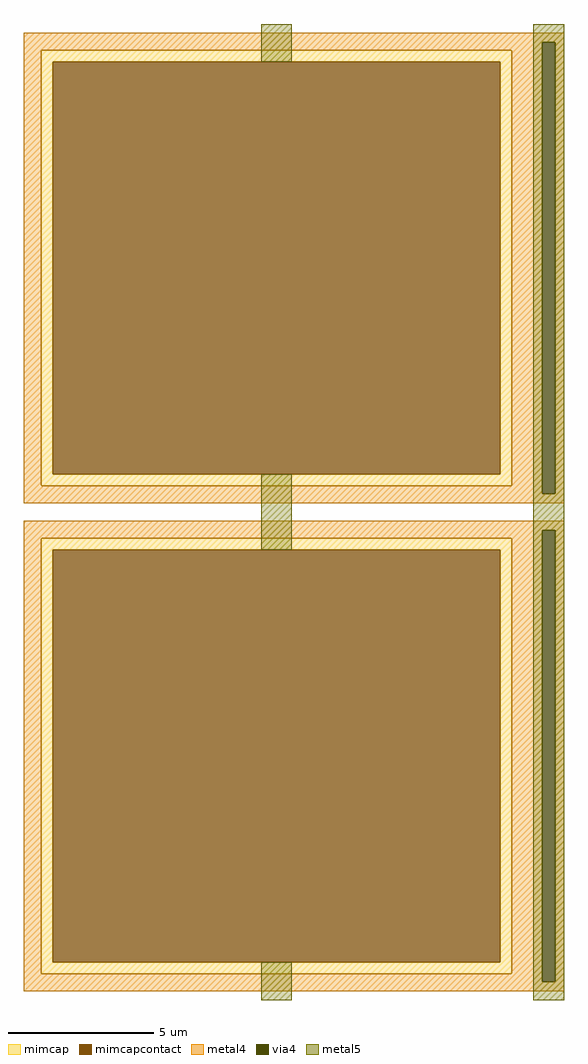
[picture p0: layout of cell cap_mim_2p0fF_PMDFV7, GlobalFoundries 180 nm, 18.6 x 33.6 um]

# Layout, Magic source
magic
tech gf180mcuC
magscale 1 10
<< mimcap >>
rect -1740 3100 1500 3180
rect -1740 260 -1660 3100
rect 1420 260 1500 3100
rect -1740 180 1500 260
rect -1740 -260 1500 -180
rect -1740 -3100 -1660 -260
rect 1420 -3100 1500 -260
rect -1740 -3180 1500 -3100
<< mimcapcontact >>
rect -1660 260 1420 3100
rect -1660 -3100 1420 -260
<< metal4 >>
rect -1860 3233 1860 3300
rect -1860 3180 1710 3233
rect -1860 180 -1740 3180
rect 1500 180 1710 3180
rect -1860 127 1710 180
rect 1798 127 1860 3233
rect -1860 60 1860 127
rect -1860 -127 1860 -60
rect -1860 -180 1710 -127
rect -1860 -3180 -1740 -180
rect 1500 -3180 1710 -180
rect -1860 -3233 1710 -3180
rect 1798 -3233 1860 -127
rect -1860 -3300 1860 -3233
<< via4 >>
rect 1710 127 1798 3233
rect 1710 -3233 1798 -127
<< metal5 >>
rect -226 3100 -14 3360
rect 1648 3233 1860 3360
rect -226 -260 -14 260
rect 1648 127 1710 3233
rect 1798 127 1860 3233
rect 1648 -127 1860 127
rect -226 -3360 -14 -3100
rect 1648 -3233 1710 -127
rect 1798 -3233 1860 -127
rect 1648 -3360 1860 -3233
<< properties >>
string FIXED_BBOX -1860 60 1620 3300
string gencell cap_mim_2p0fF
string library gf180mcu
string parameters w 16.20 l 15.00 val 7.323k carea 25.00 cperi 20.00 nx 1 ny 2 dummy 0 square 0 lmin 5.00 wmin 5.00 lmax 100.0 wmax 100.0 dc 0 bconnect 1 tconnect 1
<< end >>
